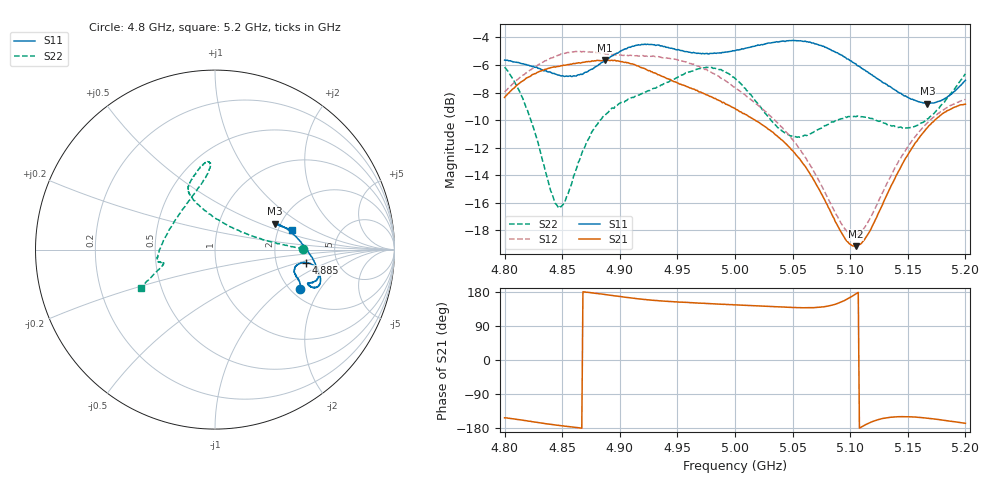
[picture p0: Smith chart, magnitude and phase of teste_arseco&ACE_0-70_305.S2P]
! Network Analyzer HP8722D
! Hewlett-Packard
! Data name: Linha & Wilkinson
! Saver's name: Rodrigo Anjos
! Comments: Teste da utilização de aquisição
! continua pelo VNA HP8722D
! Time and date: 8/5/2025 15:18
!  Frequency  S11  S21  S12  S22
# HZ  S  MA R 50
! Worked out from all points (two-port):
!   401 points, 4.8 GHz to 5.2 GHz, reference 50 ohm
!   highest |S21| = -5.63 dB at 4.887 GHz (marker M1); lowest = -19.2 dB at 5.105 GHz (marker M2)
!   |S21| within 3 dB of the highest: start of sweep to 4.987 GHz
!   lowest |S11| = -8.8 dB at 5.167 GHz (marker M3), VSWR 2.14, Z = 93.4 + j30.9 ohm
!   |S11| at or under -10 dB: nowhere
!   |S22| runs from -16.4 to -6.2 dB; largest |S21 - S12| = 1.1
!   S11 on the Smith chart (normalised r, x): 4.8 GHz: 2.24, -1.35; 4.885 GHz: 2.98, -0.59; 5.2 GHz: 2.36, +0.65
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4.8e9  0.5225 -24.8  0.3823 -152.6  0.3999 6.8  0.4921 0.5
4.818e9  0.504 -20.9  0.4459 -159.9  0.467 4.2  0.3576 5.3
4.841e9  0.4682 -17.2  0.4911 -170.1  0.532 0.7  0.1714 37.9
4.846e9  0.4611 -16.2  0.495 -172.2  0.5424 -0.2  0.1538 55.6
4.853e9  0.4566 -14.3  0.5008 -174.8  0.5537 -1.3  0.1627 80.7
4.867e9  0.463 -10.6  0.5116 -179.8  0.5591 -3.4  0.2387 106.9
4.885e9  0.5131 -8.2  0.5206 173.9  0.5536 -4.4  0.324 114.3
4.887e9  0.5192 -8.2  0.5233 172.8  0.5512 -4.6  0.3276 114.6
4.909e9  0.5811 -11.3  0.5072 164.1  0.544 -3.6  0.3774 113.2
4.934e9  0.5919 -16.8  0.4619 156.2  0.5374 -4.4  0.4191 106.9
4.975e9  0.552 -20.2  0.3905 149.1  0.4848 -7.9  0.492 95.1
5e9  0.5654 -21.0  0.3486 145.6  0.4169 -7.5  0.448 94.2
5.041e9  0.6116 -19.2  0.2673 140.0  0.2973 0.1  0.2881 128.2
5.067e9  0.6021 -14.3  0.1962 138.1  0.2115 8.4  0.2845 165.0
5.093e9  0.5433 -4.6  0.1221 154.2  0.1318 33.6  0.32 -173.9
5.105e9  0.5055 0.9  0.1101 174.6  0.1206 56.9  0.3252 -169.8
5.116e9  0.4691 6.8  0.1228 -166.9  0.1359 77.0  0.3223 -167.7
5.134e9  0.4197 15.7  0.1769 -151.4  0.1936 94.0  0.3033 -166.7
5.152e9  0.3786 21.9  0.2441 -149.9  0.2598 98.7  0.297 -164.5
5.167e9  0.3631 23.3  0.2966 -153.5  0.3091 99.1  0.3194 -161.9
5.182e9  0.3784 21.1  0.3377 -159.3  0.3465 99.1  0.3684 -157.9
5.2e9  0.4412 14.6  0.3612 -167.0  0.3765 99.6  0.4657 -152.4
